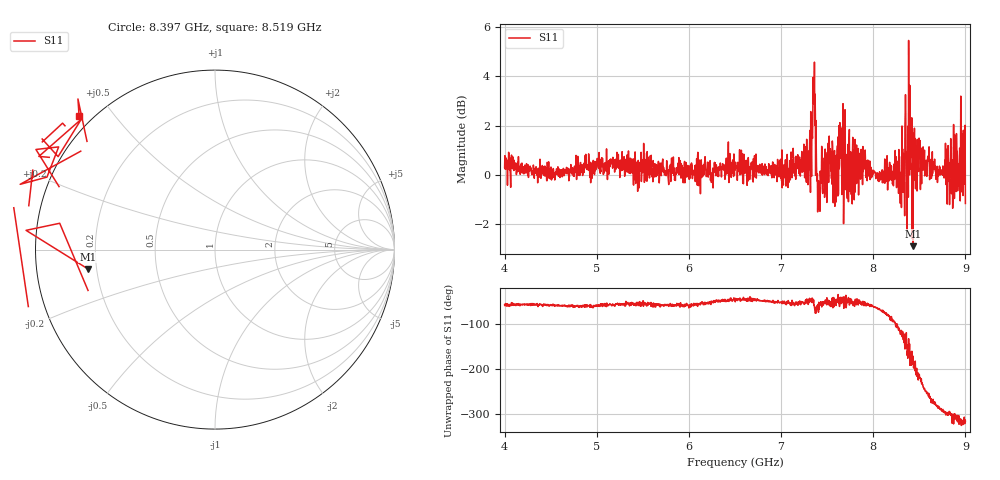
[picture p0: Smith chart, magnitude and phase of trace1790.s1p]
! Created with skrf 1.8.0 (http://scikit-rf.org).
# Hz S RI R 50.0
!freq ReS11 ImS11
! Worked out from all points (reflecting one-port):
!   1601 points, 4 GHz to 9 GHz, reference 50 ohm
!   lowest |S11| = -2.9 dB at 8.431 GHz (marker M1), VSWR 6.06, Z = 8.3 - j3.67 ohm
!   phase of S11 starts at -58 deg and turns -258 deg over the sweep
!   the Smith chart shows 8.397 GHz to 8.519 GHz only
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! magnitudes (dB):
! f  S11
! 4 GHz  0.3
! 4.625 GHz  -0.1
! 5.25 GHz  -0.1
! 5.875 GHz  0.2
! 6.5 GHz  0.2
! 7.038 GHz  0.1
! 7.125 GHz  0.5
! 7.294 GHz  -0.3
! 7.316 GHz  0.3
! 7.347 GHz  4.0
! 7.369 GHz  3.3
! 7.397 GHz  -1.5
! 7.412 GHz  -1.4
! 7.534 GHz  1.1
! 7.591 GHz  0.4
! 7.65 GHz  1.9
! 7.703 GHz  0.8
! 7.75 GHz  0.2
! 8.262 GHz  -0.2
! 8.316 GHz  0.6
! 8.334 GHz  -0.3
! 8.347 GHz  2.5
! 8.375 GHz  0.4
! 8.394 GHz  0.0
! 8.431 GHz  -2.9
! 8.875 GHz  -0.6
! 8.972 GHz  0.1
! 9 GHz  -1.2
